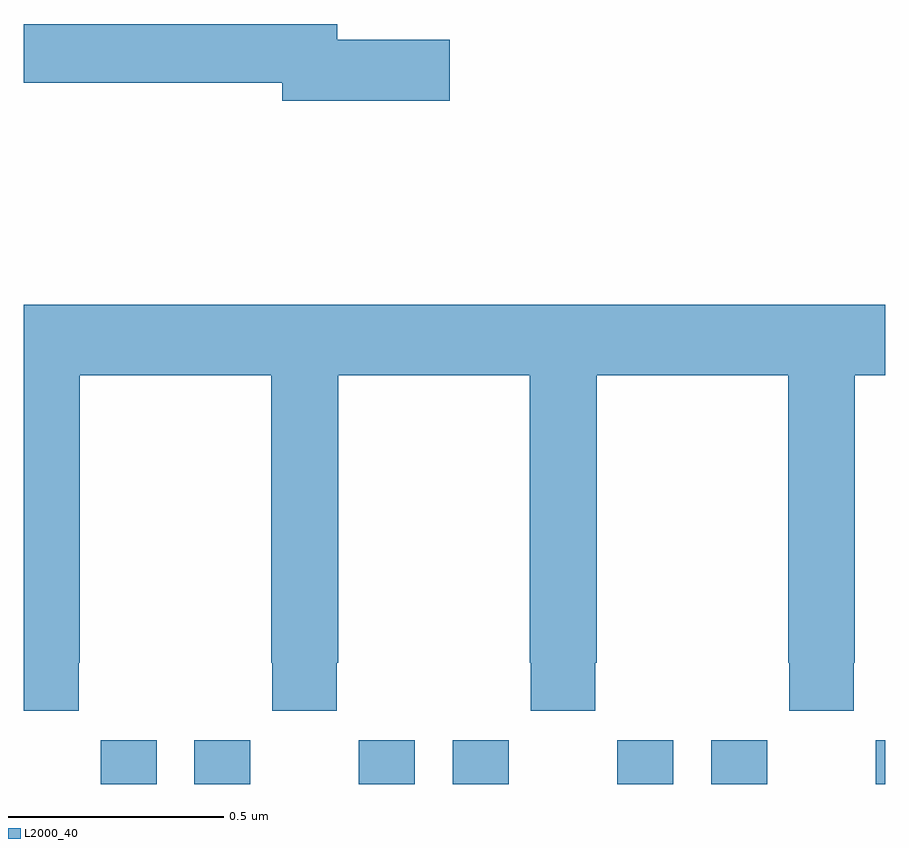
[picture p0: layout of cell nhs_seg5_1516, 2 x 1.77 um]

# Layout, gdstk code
import gdstk
lib = gdstk.Library(unit=1e-6, precision=1e-09)
def R(c, l, rs):  # rectangles x0, y0, x1, y1
    for r in rs: c.add(gdstk.rectangle(r[:2], r[2:], *l))
def P(c, l, *ps):  # polygons
    for p in ps: c.add(gdstk.Polygon(p, *l))
L2000_40 = (2000, 40)

nhs_seg5_1516 = lib.new_cell('nhs_seg5_1516')
R(nhs_seg5_1516, L2000_40, [(131.178,867.799,131.308,867.901), (131.396,867.799,131.526,867.901), (131.778,867.799,131.908,867.901), (131.996,867.799,132.126,867.901), (132.378,867.799,132.508,867.901), (132.596,867.799,132.726,867.901), (132.978,867.799,133,867.901)])
P(nhs_seg5_1516, L2000_40, [(131.989,869.528),(131.728,869.528),(131.728,869.564),(131,869.564),(131,869.428),(131.6,869.428),(131.6,869.386),(131.989,869.386)],
  [(131.127,868.081),(131.13,868.081),(131.13,868.748),(131.575,868.748),(131.575,868.081),(131.577,868.081),(131.577,867.969),(131.727,867.969),(131.727,868.081),(131.73,868.081),(131.73,868.748),(132.175,868.748),(132.175,868.081),(132.177,868.081),(132.177,867.969),(132.327,867.969),(132.327,868.081),(132.33,868.081),(132.33,868.748),(132.775,868.748),(132.775,868.081),(132.777,868.081),(132.777,867.969),(132.927,867.969),(132.927,868.081),(132.93,868.081),(132.93,868.748),(133,868.748),(133,868.912),(131,868.912),(131,867.969),(131.127,867.969)])

lib.write_gds('nhs_seg5_1516.gds')
